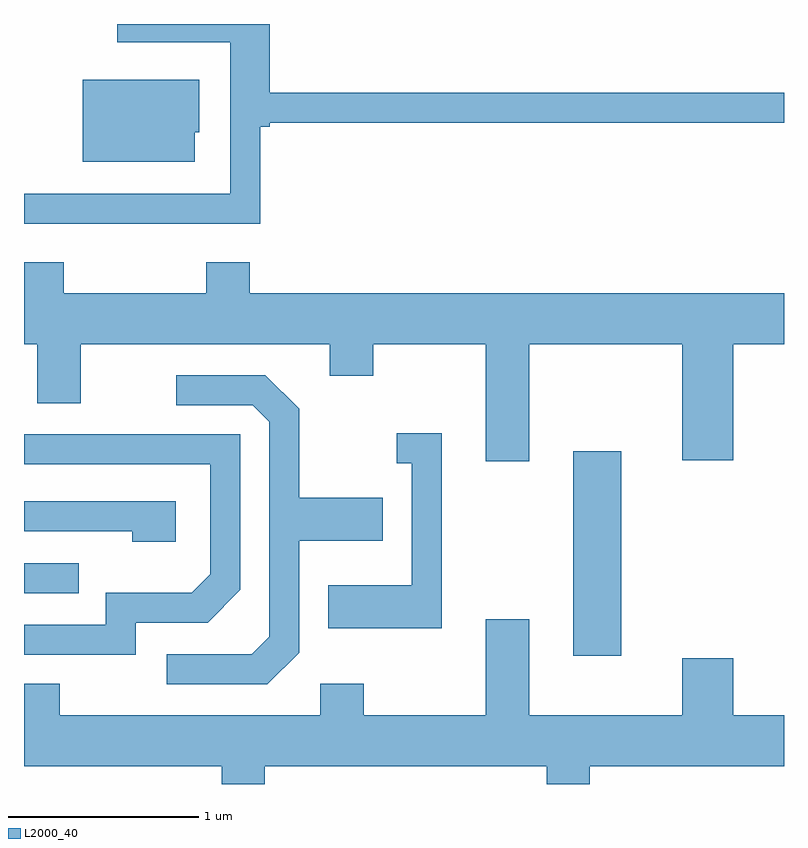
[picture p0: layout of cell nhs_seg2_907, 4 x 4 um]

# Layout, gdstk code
import gdstk
lib = gdstk.Library(unit=1e-6, precision=1e-09)
def R(c, l, rs):  # rectangles x0, y0, x1, y1
    for r in rs: c.add(gdstk.rectangle(r[:2], r[2:], *l))
def P(c, l, *ps):  # polygons
    for p in ps: c.add(gdstk.Polygon(p, *l))
L2000_40 = (2000, 40)

nhs_seg2_907 = lib.new_cell('nhs_seg2_907')
R(nhs_seg2_907, L2000_40, [(214.501,1024.476,214.754,1025.554), (211.611,1024.806,211.898,1024.964)])
P(nhs_seg2_907, L2000_40, [(212.854,1027.261),(212.904,1027.261),(212.904,1027.281),(215.611,1027.281),(215.611,1027.439),(212.904,1027.439),(212.904,1027.802),(212.103,1027.802),(212.103,1027.706),(212.696,1027.706),(212.696,1026.909),(211.611,1026.909),(211.611,1026.751),(212.854,1026.751)],
  [(212.509,1027.231),(212.534,1027.231),(212.534,1027.509),(211.921,1027.509),(211.921,1027.076),(212.509,1027.076)],
  [(214.269,1026.116),(215.076,1026.116),(215.076,1025.506),(215.344,1025.506),(215.344,1026.116),(215.611,1026.116),(215.611,1026.384),(212.799,1026.384),(212.799,1026.549),(212.571,1026.549),(212.571,1026.384),(211.819,1026.384),(211.819,1026.549),(211.611,1026.549),(211.611,1026.116),(211.681,1026.116),(211.681,1025.806),(211.909,1025.806),(211.909,1026.116),(213.221,1026.116),(213.221,1025.951),(213.449,1025.951),(213.449,1026.116),(214.041,1026.116),(214.041,1025.501),(214.269,1025.501)],
  [(213.059,1024.494),(213.059,1025.081),(213.499,1025.081),(213.499,1025.309),(213.059,1025.309),(213.059,1025.777),(212.882,1025.954),(212.413,1025.954),(212.413,1025.796),(212.814,1025.796),(212.901,1025.709),(212.901,1024.577),(212.809,1024.484),(212.363,1024.484),(212.363,1024.326),(212.892,1024.326)],
  [(213.809,1025.649),(213.573,1025.649),(213.573,1025.491),(213.651,1025.491),(213.651,1024.849),(213.211,1024.849),(213.211,1024.621),(213.809,1024.621)],
  [(212.199,1024.651),(212.577,1024.651),(212.749,1024.824),(212.749,1025.644),(211.611,1025.644),(211.611,1025.486),(212.591,1025.486),(212.591,1024.907),(212.494,1024.809),(212.041,1024.809),(212.041,1024.639),(211.611,1024.639),(211.611,1024.481),(212.199,1024.481)],
  [(212.409,1025.289),(211.611,1025.289),(211.611,1025.131),(212.181,1025.131),(212.181,1025.076),(212.409,1025.076)],
  [(212.879,1023.896),(214.361,1023.896),(214.361,1023.802),(214.589,1023.802),(214.589,1023.896),(215.611,1023.896),(215.611,1024.164),(215.344,1024.164),(215.344,1024.464),(215.076,1024.464),(215.076,1024.164),(214.269,1024.164),(214.269,1024.669),(214.041,1024.669),(214.041,1024.164),(213.399,1024.164),(213.399,1024.329),(213.171,1024.329),(213.171,1024.164),(211.799,1024.164),(211.799,1024.329),(211.611,1024.329),(211.611,1023.896),(212.651,1023.896),(212.651,1023.802),(212.879,1023.802)])

lib.write_gds('nhs_seg2_907.gds')
